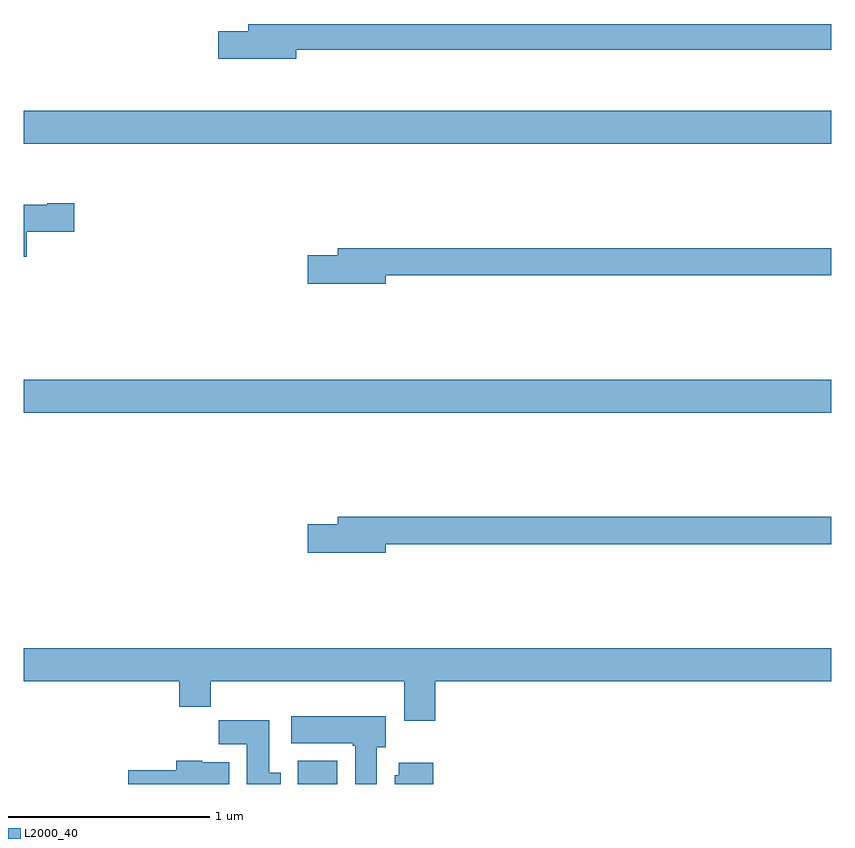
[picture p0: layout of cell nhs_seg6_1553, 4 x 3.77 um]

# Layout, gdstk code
import gdstk
lib = gdstk.Library(unit=1e-6, precision=1e-09)
def R(c, l, rs):  # rectangles x0, y0, x1, y1
    for r in rs: c.add(gdstk.rectangle(r[:2], r[2:], *l))
def P(c, l, *ps):  # polygons
    for p in ps: c.add(gdstk.Polygon(p, *l))
L2000_40 = (2000, 40)

nhs_seg6_1553 = lib.new_cell('nhs_seg6_1553')
R(nhs_seg6_1553, L2000_40, [(206.357,941.5,206.554,941.614), (205,943.34,209,943.504), (205,944.672,209,944.836)])
P(nhs_seg6_1553, L2000_40, [(206.35,945.138),(209,945.138),(209,945.266),(206.111,945.266),(206.111,945.23),(205.962,945.23),(205.962,945.095),(206.35,945.095)],
  [(205.013,944.237),(205.249,944.237),(205.249,944.379),(205.116,944.379),(205.116,944.371),(205,944.371),(205,944.112),(205.013,944.112)],
  [(206.794,944.02),(209,944.02),(209,944.156),(206.555,944.156),(206.555,944.12),(206.406,944.12),(206.406,943.978),(206.794,943.978)],
  [(206.794,942.688),(209,942.688),(209,942.824),(206.555,942.824),(206.555,942.788),(206.406,942.788),(206.406,942.646),(206.794,942.646)],
  [(207.038,942.008),(209,942.008),(209,942.172),(205,942.172),(205,942.008),(205.769,942.008),(205.769,941.884),(205.925,941.884),(205.925,942.008),(206.885,942.008),(206.885,941.814),(207.038,941.814)],
  [(206.749,941.682),(206.794,941.682),(206.794,941.836),(206.325,941.836),(206.325,941.702),(206.629,941.702),(206.629,941.689),(206.642,941.689),(206.642,941.5),(206.749,941.5)],
  [(206.272,941.556),(206.215,941.556),(206.215,941.815),(205.966,941.815),(205.966,941.696),(206.105,941.696),(206.105,941.5),(206.272,941.5)],
  [(206.017,941.608),(205.884,941.608),(205.884,941.614),(205.754,941.614),(205.754,941.568),(205.518,941.568),(205.518,941.5),(206.017,941.5)],
  [(207.029,941.605),(206.858,941.605),(206.858,941.544),(206.837,941.544),(206.837,941.5),(207.029,941.5)])

lib.write_gds('nhs_seg6_1553.gds')
